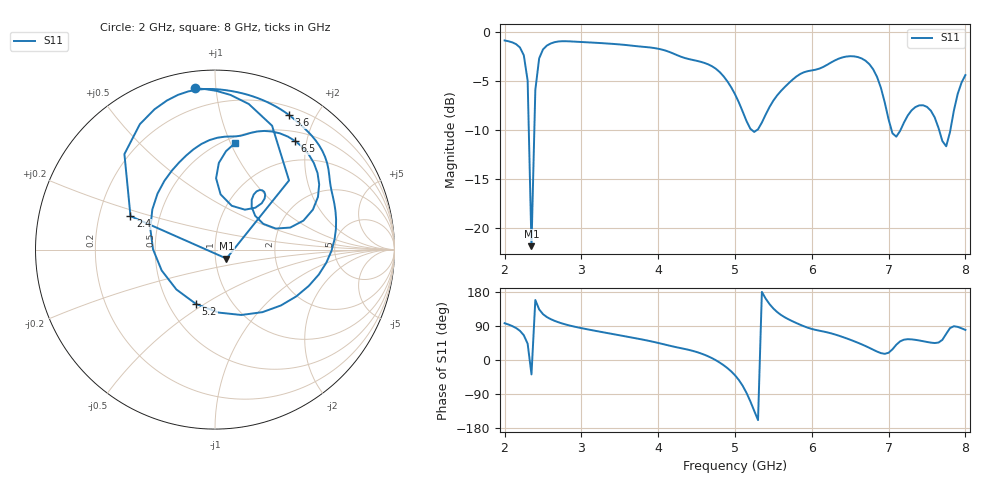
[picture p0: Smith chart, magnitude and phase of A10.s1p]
! Generated by Hertzon (EMerge FEM)
# HZ S RI R 50
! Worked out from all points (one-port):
!   121 points, 2 GHz to 8 GHz, reference 50 ohm
!   lowest |S11| = -21.8 dB at 2.35 GHz (marker M1), VSWR 1.18, Z = 56.5 - j5.67 ohm
!   |S11| at or under -10 dB: 2.315 GHz to 2.387 GHz (72.23 MHz wide, 3.07 % of centre); 7.038 GHz to 7.155 GHz (116.7 MHz wide, 1.64 % of centre); 7.658 GHz to 7.804 GHz (146.3 MHz wide, 1.89 % of centre)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
!   S11 on the Smith chart (normalised r, x): 2 GHz: 0.09, +0.88; 2.4 GHz: 0.34, +0.17; 3.6 GHz: 0.29, +1.65; 5.2 GHz: 0.68, -0.46; 6.5 GHz: 0.65, +1.80; 8 GHz: 0.56, +1.04
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2e9  -0.1114 0.8976
2.2e9  0.1881 0.8113
2.25e9  0.3181 0.6903
2.3e9  0.4125 0.3853
2.35e9  0.0638 -0.0499
2.4e9  -0.4708 0.1866
2.45e9  -0.5047 0.5321
2.5e9  -0.4187 0.6987
2.75e9  -0.0991 0.891
3.5e9  0.3636 0.7829
3.6e9  0.4106 0.7509
4.25e9  0.6363 0.4156
4.75e9  0.6493 -0.00614
5e9  0.3675 -0.3111
5.2e9  -0.1055 -0.3031
5.4e9  -0.3606 0.1185
5.55e9  -0.282 0.3829
5.75e9  -0.1198 0.5587
6.3e9  0.2738 0.6611
6.5e9  0.4474 0.6046
6.75e9  0.5805 0.3628
6.95e9  0.4194 0.1229
7.1e9  0.2235 0.1888
7.25e9  0.2159 0.3071
7.55e9  0.2767 0.2847
7.75e9  0.0936 0.244
7.85e9  0.00603 0.3972
8e9  0.1105 0.5923
